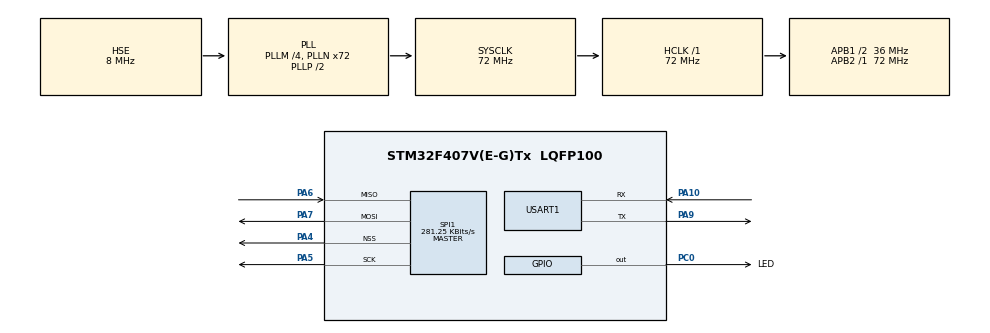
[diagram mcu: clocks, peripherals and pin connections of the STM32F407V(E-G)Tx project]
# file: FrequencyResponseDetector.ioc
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Mcu.Family=STM32F4
Mcu.Name=STM32F407V(E-G)Tx
Mcu.Package=LQFP100
NVIC.PriorityGroup=NVIC_PRIORITYGROUP_4
NVIC.TIM1_UP_TIM10_IRQn=true\:15\:0\:true\:false\:true\:true\:true\:true
PA10.Mode=Asynchronous
PA10.Signal=USART1_RX
PA13.Mode=Serial_Wire
PA13.Signal=SYS_JTMS-SWDIO
PA14.Mode=Serial_Wire
PA14.Signal=SYS_JTCK-SWCLK
PA4.GPIO_PuPd=GPIO_PULLDOWN
PA4.GPIO_Speed=GPIO_SPEED_FREQ_VERY_HIGH
PA4.Mode=NSS_Signal_Hard_Output
PA4.Signal=SPI1_NSS
PA5.GPIO_PuPd=GPIO_PULLDOWN
PA5.GPIO_Speed=GPIO_SPEED_FREQ_VERY_HIGH
PA5.Mode=Full_Duplex_Master
PA5.Signal=SPI1_SCK
PA6.GPIO_PuPd=GPIO_PULLDOWN
PA6.GPIO_Speed=GPIO_SPEED_FREQ_VERY_HIGH
PA6.Mode=Full_Duplex_Master
PA6.Signal=SPI1_MISO
PA7.GPIO_PuPd=GPIO_PULLDOWN
PA7.GPIO_Speed=GPIO_SPEED_FREQ_VERY_HIGH
PA7.Mode=Full_Duplex_Master
PA7.Signal=SPI1_MOSI
PA9.Mode=Asynchronous
PA9.Signal=USART1_TX
PC0.GPIO_Label=LED
PC0.Signal=GPIO_Output
PC14-OSC32_IN.Mode=LSE-External-Oscillator
PC14-OSC32_IN.Signal=RCC_OSC32_IN
PC15-OSC32_OUT.Mode=LSE-External-Oscillator
PC15-OSC32_OUT.Signal=RCC_OSC32_OUT
PH0-OSC_IN.Mode=HSE-External-Oscillator
PH0-OSC_IN.Signal=RCC_OSC_IN
PH1-OSC_OUT.Mode=HSE-External-Oscillator
PH1-OSC_OUT.Signal=RCC_OSC_OUT
ProjectManager.HeapSize=0x200
ProjectManager.StackSize=0x400
ProjectManager.TargetToolchain=Makefile
RCC.48MHZClocksFreq_Value=48000000
RCC.AHBFreq_Value=72000000
RCC.APB1CLKDivider=RCC_HCLK_DIV2
RCC.APB1Freq_Value=36000000
RCC.APB1TimFreq_Value=72000000
RCC.APB2Freq_Value=72000000
RCC.APB2TimFreq_Value=72000000
RCC.CortexFreq_Value=72000000
RCC.EnbaleCSS=true
RCC.HCLKFreq_Value=72000000
RCC.HSE_VALUE=8000000
RCC.HSI_VALUE=16000000
RCC.PLLM=4
RCC.PLLN=72
RCC.PLLQ=3
RCC.PLLSourceVirtual=RCC_PLLSOURCE_HSE
RCC.SYSCLKFreq_VALUE=72000000
RCC.SYSCLKSource=RCC_SYSCLKSOURCE_PLLCLK
RCC.VCOOutputFreq_Value=144000000
SPI1.BaudRatePrescaler=SPI_BAUDRATEPRESCALER_256
SPI1.CalculateBaudRate=281.25 KBits/s
SPI1.Direction=SPI_DIRECTION_2LINES
SPI1.Mode=SPI_MODE_MASTER
SPI1.VirtualNSS=VM_NSSHARD
SPI1.VirtualType=VM_MASTER
TIM1.Period=1249
TIM1.Prescaler=8399
USART1.VirtualMode=VM_ASYNC
VP_RNG_VS_RNG.Mode=RNG_Activate
VP_TIM1_VS_ClockSourceINT.Mode=Internal
board=custom

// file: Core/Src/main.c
/* USER CODE BEGIN Header */
/**
 ******************************************************************************
 * @file           : main.c
 * @brief          : Main program body
 ******************************************************************************
 * @attention
 *
 * Copyright (c) 2023 STMicroelectronics.
 * All rights reserved.
 *
 * This software is licensed under terms that can be found in the LICENSE file
 * in the root directory of this software component.
 * If no LICENSE file comes with this software, it is provided AS-IS.
 *
 ******************************************************************************
 */
/* USER CODE END Header */
#include "main.h"
#include "rng.h"
#include "spi.h"
#include "tim.h"
#include "usart.h"
#include "gpio.h"

/* USER CODE BEGIN PV */
unsigned int led_state = 0;
/* USER CODE END PV */

void SystemClock_Config(void);

/* USER CODE BEGIN 0 */
int _write(int file, char *ptr, int len)
{
  HAL_UART_Transmit(&huart1, (const uint8_t *)ptr, len, HAL_MAX_DELAY);

  return len;
}
/* USER CODE END 0 */

int main(void)
{

  /* MCU Configuration--------------------------------------------------------*/

  /* Reset of all peripherals, Initializes the Flash interface and the Systick. */
  HAL_Init();

  /* Configure the system clock */
  SystemClock_Config();

  /* Initialize all configured peripherals */
  MX_GPIO_Init();
  MX_TIM1_Init();
  MX_USART1_UART_Init();
  MX_RNG_Init();
  MX_SPI1_Init();
  /* USER CODE BEGIN 2 */

  printf("Hello world.\r\n");

  HAL_TIM_Base_Start_IT(&htim1);
  fpga_init(&hspi1, NULL);

  /* USER CODE END 2 */

  /* Infinite loop */
  while (1)
  {

    /* USER CODE BEGIN 3 */
    HAL_Delay(500);

    fpga_write_reg(0x01, 1);
    fpga_write_reg(0x02, 0);
    fpga_write_reg(0x03, 2);

    fpga_write_reg(0x11, 5000000.0f * FWORD_BANDWIDTH / DDS_FREQ);
    fpga_write_reg(0x13, 600000);

    fpga_write_reg(0x21, 1000000.0f * FWORD_BANDWIDTH / DDS_FREQ);
    fpga_write_reg(0x22, 5000000.0f * FWORD_BANDWIDTH / DDS_FREQ);
    fpga_write_reg(0x23, 1000);
    fpga_write_reg(0x24, 1);

    fpga_write_reg(0x25, 1000000.0f * FWORD_BANDWIDTH / DDS_FREQ);
    fpga_write_reg(0x26, 5000000.0f * FWORD_BANDWIDTH / DDS_FREQ);
    fpga_write_reg(0x27, 1000);
    fpga_write_reg(0x28, 1);

    fpga_write_reg(0x29, 300000);
    fpga_write_reg(0x2a, 10000000);
    fpga_write_reg(0x2b, 100);
    fpga_write_reg(0x2c, 1);

    fpga_write_reg(0x31, 1000000.0f * FWORD_BANDWIDTH / DDS_FREQ);
    fpga_write_reg(0x32, 10000);
    fpga_write_reg(0x33, 1);
    fpga_write_reg(0x34, 2051);

    fpga_write_reg(0x35, 1000000.0f * FWORD_BANDWIDTH / DDS_FREQ);
    fpga_write_reg(0x36, 100000);
    fpga_write_reg(0x37, 1);
    fpga_write_reg(0x38, 2051);

    fpga_write_reg(0x39, 600000);
    fpga_write_reg(0x3a, 200);
    fpga_write_reg(0x3b, 1);
    fpga_write_reg(0x3c, 2051);
  }
  /* USER CODE END 3 */
}

void SystemClock_Config(void)
{
  RCC_OscInitTypeDef RCC_OscInitStruct = {0};
  RCC_ClkInitTypeDef RCC_ClkInitStruct = {0};

  /** Configure the main internal regulator output voltage
   */
  __HAL_RCC_PWR_CLK_ENABLE();
  __HAL_PWR_VOLTAGESCALING_CONFIG(PWR_REGULATOR_VOLTAGE_SCALE1);

  /** Initializes the RCC Oscillators according to the specified parameters
   * in the RCC_OscInitTypeDef structure.
   */
  RCC_OscInitStruct.OscillatorType = RCC_OSCILLATORTYPE_HSE;
  RCC_OscInitStruct.HSEState = RCC_HSE_ON;
  RCC_OscInitStruct.PLL.PLLState = RCC_PLL_ON;
  RCC_OscInitStruct.PLL.PLLSource = RCC_PLLSOURCE_HSE;
  RCC_OscInitStruct.PLL.PLLM = 4;
  RCC_OscInitStruct.PLL.PLLN = 72;
  RCC_OscInitStruct.PLL.PLLP = RCC_PLLP_DIV2;
  RCC_OscInitStruct.PLL.PLLQ = 3;
  if (HAL_RCC_OscConfig(&RCC_OscInitStruct) != HAL_OK)
  {
    Error_Handler();
  }

  /** Initializes the CPU, AHB and APB buses clocks
   */
  RCC_ClkInitStruct.ClockType = RCC_CLOCKTYPE_HCLK | RCC_CLOCKTYPE_SYSCLK | RCC_CLOCKTYPE_PCLK1 | RCC_CLOCKTYPE_PCLK2;
  RCC_ClkInitStruct.SYSCLKSource = RCC_SYSCLKSOURCE_PLLCLK;
  RCC_ClkInitStruct.AHBCLKDivider = RCC_SYSCLK_DIV1;
  RCC_ClkInitStruct.APB1CLKDivider = RCC_HCLK_DIV2;
  RCC_ClkInitStruct.APB2CLKDivider = RCC_HCLK_DIV1;

  if (HAL_RCC_ClockConfig(&RCC_ClkInitStruct, FLASH_LATENCY_2) != HAL_OK)
  {
    Error_Handler();
  }

  /** Enables the Clock Security System
   */
  HAL_RCC_EnableCSS();
}

void Error_Handler(void)
{
  __disable_irq();
  while (1)
  {
  }
}
